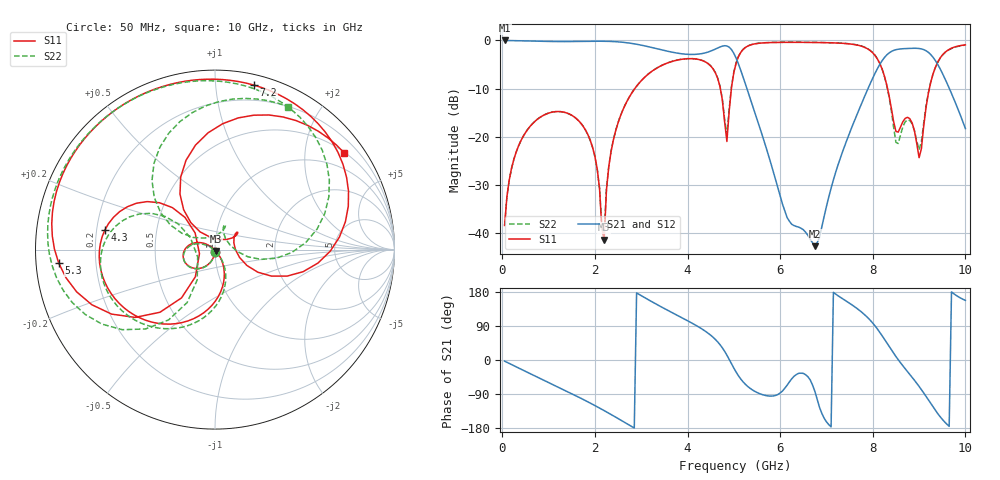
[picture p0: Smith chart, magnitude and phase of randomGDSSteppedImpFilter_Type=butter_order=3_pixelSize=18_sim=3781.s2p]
! freq	dB(S11)	phase(S11)	dB(S12)	phase(S12)
!  dB(S21)	phase(S21)	dB(S22)	phase(S22)
!S-par simulation data
#  GHz  S  DB  R 50
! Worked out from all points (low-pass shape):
!   200 points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, 50 MHz to 10 GHz, reference 50 ohm
!   highest |S21| = -0.01 dB at 50 MHz (marker M1); lowest = -42.7 dB at 6.75 GHz (marker M2)
!   |S21| within 3 dB of the highest: start of sweep to 5.016 GHz; 8.303 GHz to 9.258 GHz (955 MHz wide, 10.9 % of centre)
!   lowest |S11| = -41.3 dB at 2.2 GHz (marker M3), VSWR 1.02, Z = 50.4 - j0.779 ohm
!   |S11| at or under -10 dB: start of sweep to 2.862 GHz; 4.708 GHz to 4.947 GHz (238.4 MHz wide, 4.94 % of centre); 8.319 GHz to 9.222 GHz (903.4 MHz wide, 10.3 % of centre)
!   |S22| runs from -40.0 to -0.4 dB; largest |S21 - S12| = 0
!   S11 on the Smith chart (normalised r, x): 50 MHz: 1.00, -0.02; 4.3 GHz: 0.23, +0.08; 5.3 GHz: 0.07, -0.04; 7.2 GHz: 0.08, +1.26; 10 GHz: 0.52, +2.92
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0.05  -38.43 -92.6  -0.01 -3.1  -0.01 -3.1  -38.43 -92.6
0.6  -17.85 -126.8  -0.12 -35.9  -0.12 -35.9  -17.85 -125.8
1.75  -17.88 164.0  -0.20 -104.3  -0.20 -104.3  -17.89 167.7
2.2  -41.34 -64.4  -0.17 -133.6  -0.17 -133.6  -40.03 -77.5
2.3  -26.16 -55.4  -0.19 -140.4  -0.19 -140.4  -26.08 -54.8
2.5  -17.10 -68.2  -0.29 -154.4  -0.29 -154.4  -17.07 -65.3
3.4  -5.40 -131.3  -1.86 142.3  -1.86 142.3  -5.39 -125.5
4.3  -4.11 169.9  -2.75 82.8  -2.75 82.8  -4.10 178.3
4.65  -7.85 139.9  -1.58 47.9  -1.58 47.9  -7.81 150.2
4.85  -20.98 -165.6  -1.15 12.8  -1.15 12.8  -19.59 -157.3
5.05  -4.68 -139.7  -3.70 -32.0  -3.70 -32.0  -4.62 -131.2
5.3  -1.17 -175.1  -10.51 -69.8  -10.51 -69.8  -1.15 -165.0
6.15  -0.39 129.3  -36.78 -66.6  -36.78 -66.6  -0.38 142.7
6.7  -0.41 102.7  -42.03 -66.4  -42.03 -66.4  -0.41 118.2
6.75  -0.42 100.3  -42.72 -82.8  -42.72 -82.8  -0.41 115.9
7.2  -0.52 76.7  -27.35 173.8  -27.35 173.8  -0.51 94.0
7.9  -1.81 23.6  -9.93 110.7  -9.93 110.7  -1.78 42.8
8.35  -11.39 -27.8  -2.61 36.3  -2.61 36.3  -11.61 -12.0
8.65  -16.87 37.8  -1.72 -15.3  -1.72 -15.3  -17.92 69.0
9.05  -22.48 111.8  -1.76 -78.1  -1.76 -78.1  -21.04 133.8
9.4  -4.55 100.6  -4.94 -141.0  -4.94 -141.0  -4.60 125.3
10  -0.92 36.8  -18.29 157.4  -18.29 157.4  -0.96 62.8
